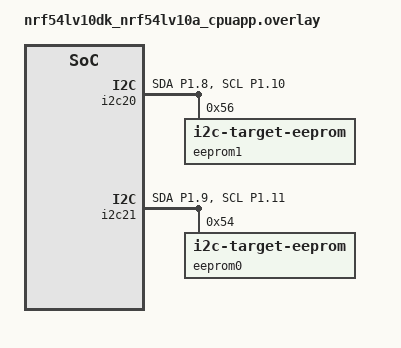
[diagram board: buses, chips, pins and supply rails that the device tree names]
/*
 * SDA = P1.8 and P1.9
 * SCL = P1.10 and P1.11
 */

&pinctrl {
	i2c20_default: i2c20_default {
		group1 {
			psels = <NRF_PSEL(TWIS_SDA, 1, 8)>,
				<NRF_PSEL(TWIS_SCL, 1, 10)>;
			bias-pull-up;
		};
	};

	i2c20_sleep: i2c20_sleep {
		group1 {
			psels = <NRF_PSEL(TWIS_SDA, 1, 8)>,
				<NRF_PSEL(TWIS_SCL, 1, 10)>;
			low-power-enable;
		};
	};

	i2c21_default: i2c21_default {
		group1 {
			psels = <NRF_PSEL(TWIS_SDA, 1, 9)>,
				<NRF_PSEL(TWIS_SCL, 1, 11)>;
			bias-pull-up;
		};
	};

	i2c21_sleep: i2c21_sleep {
		group1 {
			psels = <NRF_PSEL(TWIS_SDA, 1, 9)>,
				<NRF_PSEL(TWIS_SCL, 1, 11)>;
			low-power-enable;
		};
	};
};

&i2c20 {
	pinctrl-0 = <&i2c20_default>;
	pinctrl-1 = <&i2c20_sleep>;
	pinctrl-names = "default", "sleep";
	zephyr,concat-buf-size = <256>;
	status = "okay";

	eeprom1: eeprom@56 {
		compatible = "zephyr,i2c-target-eeprom";
		reg = <0x56>;
		address-width = <8>;
		size = <256>;
	};
};

&i2c21 {
	compatible = "nordic,nrf-twis";
	pinctrl-0 = <&i2c21_default>;
	pinctrl-1 = <&i2c21_sleep>;
	pinctrl-names = "default", "sleep";
	status = "okay";

	eeprom0: eeprom@54 {
		compatible = "zephyr,i2c-target-eeprom";
		reg = <0x54>;
		address-width = <8>;
		size = <256>;
	};
};
